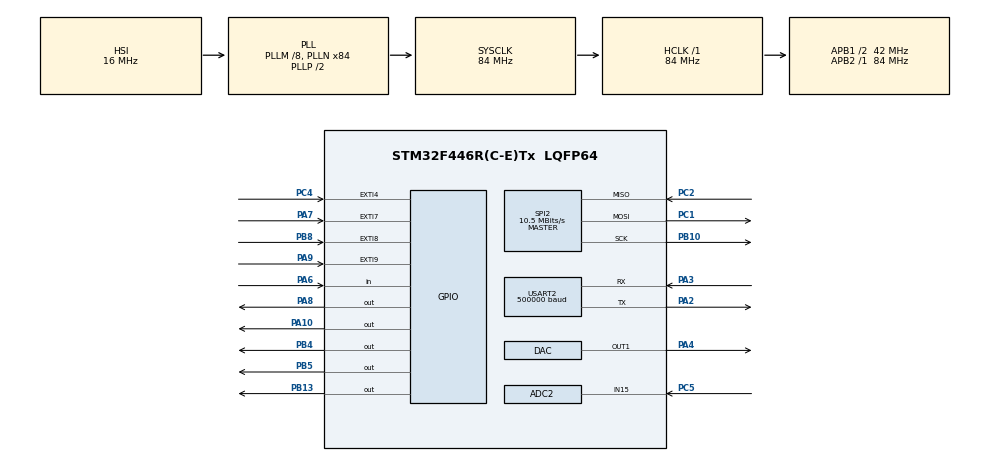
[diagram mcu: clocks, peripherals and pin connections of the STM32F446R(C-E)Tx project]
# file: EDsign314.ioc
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ADC2.Channel-13\#ChannelRegularConversion=ADC_CHANNEL_15
ADC2.DMAContinuousRequests=ENABLE
ADC2.ExternalTrigConv=ADC_EXTERNALTRIGCONV_T2_TRGO
ADC2.NbrOfConversionFlag=1
ADC2.Rank-13\#ChannelRegularConversion=1
ADC2.Resolution=ADC_RESOLUTION_8B
ADC2.SamplingTime-13\#ChannelRegularConversion=ADC_SAMPLETIME_3CYCLES
DAC.DAC_Trigger=DAC_TRIGGER_T2_TRGO
Dma.ADC2.1.Direction=DMA_PERIPH_TO_MEMORY
Dma.ADC2.1.FIFOMode=DMA_FIFOMODE_DISABLE
Dma.ADC2.1.Instance=DMA2_Stream2
Dma.ADC2.1.MemDataAlignment=DMA_MDATAALIGN_BYTE
Dma.ADC2.1.MemInc=DMA_MINC_ENABLE
Dma.ADC2.1.Mode=DMA_CIRCULAR
Dma.ADC2.1.PeriphDataAlignment=DMA_PDATAALIGN_BYTE
Dma.ADC2.1.PeriphInc=DMA_PINC_DISABLE
Dma.ADC2.1.Priority=DMA_PRIORITY_LOW
Dma.DAC1.0.Direction=DMA_MEMORY_TO_PERIPH
Dma.DAC1.0.FIFOMode=DMA_FIFOMODE_DISABLE
Dma.DAC1.0.Instance=DMA1_Stream5
Dma.DAC1.0.MemDataAlignment=DMA_MDATAALIGN_HALFWORD
Dma.DAC1.0.MemInc=DMA_MINC_ENABLE
Dma.DAC1.0.Mode=DMA_NORMAL
Dma.DAC1.0.PeriphDataAlignment=DMA_PDATAALIGN_HALFWORD
Dma.DAC1.0.PeriphInc=DMA_PINC_DISABLE
Dma.DAC1.0.Priority=DMA_PRIORITY_LOW
Dma.Request0=DAC1
Dma.Request1=ADC2
Dma.Request2=USART2_TX
Dma.USART2_TX.2.Direction=DMA_MEMORY_TO_PERIPH
Dma.USART2_TX.2.FIFOMode=DMA_FIFOMODE_DISABLE
Dma.USART2_TX.2.Instance=DMA1_Stream6
Dma.USART2_TX.2.MemDataAlignment=DMA_MDATAALIGN_BYTE
Dma.USART2_TX.2.MemInc=DMA_MINC_ENABLE
Dma.USART2_TX.2.Mode=DMA_NORMAL
Dma.USART2_TX.2.PeriphDataAlignment=DMA_PDATAALIGN_BYTE
Dma.USART2_TX.2.PeriphInc=DMA_PINC_DISABLE
Dma.USART2_TX.2.Priority=DMA_PRIORITY_LOW
Mcu.Family=STM32F4
Mcu.Name=STM32F446R(C-E)Tx
Mcu.Package=LQFP64
NVIC.DMA1_Stream5_IRQn=true\:0\:0\:false\:false\:true\:false\:true
NVIC.DMA1_Stream6_IRQn=true\:0\:0\:false\:false\:true\:false\:true
NVIC.DMA2_Stream2_IRQn=true\:0\:0\:false\:false\:true\:false\:true
NVIC.EXTI4_IRQn=true\:0\:0\:false\:false\:true\:true\:true
NVIC.EXTI9_5_IRQn=true\:0\:0\:false\:false\:true\:true\:true
NVIC.PriorityGroup=NVIC_PRIORITYGROUP_4
NVIC.TIM3_IRQn=true\:0\:0\:false\:false\:true\:true\:true
PA10.GPIO_PuPd=GPIO_PULLDOWN
PA10.GPIO_Speed=GPIO_SPEED_FREQ_LOW
PA10.Signal=GPIO_Output
PA2.Mode=Asynchronous
PA2.Signal=USART2_TX
PA3.Mode=Asynchronous
PA3.Signal=USART2_RX
PA4.Signal=COMP_DAC1_group
PA6.GPIO_PuPd=GPIO_PULLDOWN
PA6.Signal=GPIO_Input
PA7.GPIO_PuPd=GPIO_PULLDOWN
PA7.Signal=GPXTI7
PA8.GPIO_PuPd=GPIO_PULLDOWN
PA8.Signal=GPIO_Output
PA9.GPIO_PuPd=GPIO_PULLDOWN
PA9.Signal=GPXTI9
PB10.Mode=Full_Duplex_Master
PB10.Signal=SPI2_SCK
PB13.GPIO_PuPd=GPIO_PULLDOWN
PB13.Signal=GPIO_Output
PB4.GPIO_PuPd=GPIO_PULLDOWN
PB4.Signal=GPIO_Output
PB5.GPIO_PuPd=GPIO_PULLDOWN
PB5.Signal=GPIO_Output
PB8.GPIO_PuPd=GPIO_PULLDOWN
PB8.Signal=GPXTI8
PC1.Mode=Full_Duplex_Master
PC1.Signal=SPI2_MOSI
PC2.Mode=Full_Duplex_Master
PC2.Signal=SPI2_MISO
PC4.GPIO_PuPd=GPIO_PULLDOWN
PC4.Signal=GPXTI4
PC5.Signal=ADCx_IN15
ProjectManager.HeapSize=0x200
ProjectManager.StackSize=0x400
ProjectManager.TargetToolchain=STM32CubeIDE
RCC.AHBFreq_Value=84000000
RCC.APB1CLKDivider=RCC_HCLK_DIV2
RCC.APB1Freq_Value=42000000
RCC.APB1TimFreq_Value=84000000
RCC.APB2Freq_Value=84000000
RCC.APB2TimFreq_Value=84000000
RCC.CortexFreq_Value=84000000
RCC.HCLKFreq_Value=84000000
RCC.PLLM=8
RCC.PLLN=84
RCC.SYSCLKFreq_VALUE=84000000
RCC.SYSCLKSource=RCC_SYSCLKSOURCE_PLLCLK
RCC.USBFreq_Value=84000000
RCC.VCOOutputFreq_Value=168000000
SH.ADCx_IN15.0=ADC2_IN15,IN15
SH.COMP_DAC1_group.0=DAC_OUT1,DAC_OUT1
SPI2.BaudRatePrescaler=SPI_BAUDRATEPRESCALER_4
SPI2.CalculateBaudRate=10.5 MBits/s
SPI2.Direction=SPI_DIRECTION_2LINES
SPI2.Mode=SPI_MODE_MASTER
SPI2.VirtualType=VM_MASTER
TIM2.Period=1905
TIM2.TIM_MasterOutputTrigger=TIM_TRGO_UPDATE
TIM3.Period=62499
TIM3.Prescaler=335
USART2.BaudRate=500000
USART2.VirtualMode=VM_ASYNC
VP_FATFS_VS_Generic.Mode=User_defined
VP_TIM2_VS_ClockSourceINT.Mode=Internal
VP_TIM3_VS_ClockSourceINT.Mode=Internal
board=custom

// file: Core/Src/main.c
/* USER CODE BEGIN Header */
/**
  ******************************************************************************
  * @file           : main.c
  * @brief          : Main program body
  ******************************************************************************
  * @attention
  *
  * <h2><center>&copy; Copyright (c) 2020 STMicroelectronics.
  * All rights reserved.</center></h2>
  *
  * This software component is licensed by ST under BSD 3-Clause license,
  * the "License"; You may not use this file except in compliance with the
  * License. You may obtain a copy of the License at:
  *                        opensource.org/licenses/BSD-3-Clause
  *
  ******************************************************************************
  */
/* USER CODE END Header */

#include "main.h"
#include "fatfs.h"

/* USER CODE BEGIN Includes */
#include <stdio.h>
#include <stdbool.h>
#include "sinewave.h"
/* USER CODE END Includes */

ADC_HandleTypeDef hadc2;
DMA_HandleTypeDef hdma_adc2;

DAC_HandleTypeDef hdac;
DMA_HandleTypeDef hdma_dac1;

SPI_HandleTypeDef hspi2;

TIM_HandleTypeDef htim2;
TIM_HandleTypeDef htim3;

UART_HandleTypeDef huart2;
DMA_HandleTypeDef hdma_usart2_tx;

/* USER CODE BEGIN PV */
	uint8_t startUp[10] = {127, 128, 50, 48, 56, 56 ,57, 51, 53, 54};
	uint8_t stop[10] = {127, 128, 83, 116, 111, 112, 95, 95, 95, 95};
	uint8_t record_1[10] = {127, 128, 82, 101, 99, 111, 114, 100, 95, 49};
	uint8_t record_2[10] = {127, 128, 82, 101, 99, 111, 114, 100, 95, 50};
	uint8_t record_3[10] = {127, 128, 82, 101, 99, 111, 114, 100, 95, 51};
	uint8_t playBack_3[10] = {127, 128, 80, 108, 97, 121, 95, 95, 95, 51};
	uint8_t playBack_2[10] = {127, 128, 80, 108, 97, 121, 95, 95, 95, 50};
	uint8_t playBack_1[10] = {127, 128, 80, 108, 97, 121, 95, 95, 95, 49};

	extern volatile uint8_t Record_1;
	extern volatile uint8_t Record_2;
	extern volatile uint8_t Record_3;
	extern volatile uint8_t Playback_1;
	extern volatile uint8_t Playback_2;
	extern volatile uint8_t Playback_3;
	extern volatile uint8_t Stop;
	extern volatile uint8_t start_recording;

	uint8_t interrupt_time = 0;
	uint8_t last_interrupt_time = 0;
	volatile uint8_t debounce = 0;

	volatile bool led_flash_1 = false;
	volatile bool led_flash_2 = false;
	volatile bool led_flash_3 = false;

	uint16_t dacbuffer[1098];

	uint8_t adcbuffer[1024];
	int32_t tempsample;
	int8_t outputbuf[1024];

	int32_t average = 128;
	int32_t accumulator;
	int32_t numavg;
	float smoothed_sample;

	volatile enum state{idle, track_1, track_2, track_3, recording_1, recording_2, recording_3, stoped}machine;
/* USER CODE END PV */

void SystemClock_Config(void);
static void MX_GPIO_Init(void);
static void MX_DMA_Init(void);
static void MX_ADC2_Init(void);
static void MX_DAC_Init(void);
static void MX_SPI2_Init(void);
static void MX_USART2_UART_Init(void);
static void MX_TIM2_Init(void);
static void MX_TIM3_Init(void);

/* USER CODE BEGIN 0 */
void HAL_GPIO_EXTI_Callback(uint16_t GPIO_Pin)
{
  /* Prevent unused argument(s) compilation warning */
  UNUSED(GPIO_Pin);
  /* NOTE: This function Should not be modified, when the callback is needed,
           the HAL_GPIO_EXTI_Callback could be implemented in the user file
   */
  //if((debounce == 1)&&(HAL_GPIO_ReadPin(GPIOA, GPIO_PIN_7)||HAL_GPIO_ReadPin(GPIOA, GPIO_PIN_9)||HAL_GPIO_ReadPin(GPIOB, GPIO_PIN_8)||HAL_GPIO_ReadPin(GPIOC, GPIO_PIN_4))){
	  	  //Start reording audio 1
		  if((GPIO_Pin == GPIO_PIN_8)&&(start_recording == 1)){
			Record_1 = 1;
		  }
		  //Start reording audio 2
		  if((GPIO_Pin == GPIO_PIN_9)&&(start_recording == 1)){
			Record_2 = 1;
		  }
		  //Start reording audio 3
		  if((GPIO_Pin == GPIO_PIN_7)&&(start_recording == 1)){
			Record_3 = 1;
		  }
		  //Start playback of audio 1
		  if((GPIO_Pin == GPIO_PIN_8)&&(start_recording == 0)){
			Playback_1 = 1;
		  }
		  //Start playback of audio 3
		  if((GPIO_Pin == GPIO_PIN_9)&&(start_recording == 0)){
			Playback_2 = 1;
		  }
		  //Start playback of audio 3
		  if((GPIO_Pin == GPIO_PIN_7)&&(start_recording == 0)){
			Playback_3 = 1;
		  }
		  //Stop all actions
		  if(GPIO_Pin == GPIO_PIN_4){
			Stop = 1;
		  }
		  debounce = 0;
  }
//}

void Hal_DAC_ConvCpltcallbackCh1(DAC_HandleTypeDef* hdac){
	HAL_DAC_Start_DMA(hdac, DAC_CHANNEL_1, (uint32_t*)dacbuffer, 1098, DAC_ALIGN_12B_R);
	if(machine == track_1){
			wave_fillbuffer(dacbuffer + 549, 1, 549);
		}
	if(machine == track_2){
			wave_fillbuffer(dacbuffer + 549, 2, 549);
		}
	if(machine == track_3){
			wave_fillbuffer(dacbuffer + 549, 3, 549);
		}

}
void Hal_DAC_ConHalfCpltcallbackCh1(DAC_HandleTypeDef* hdac){
	if(machine == track_1){
		wave_fillbuffer(dacbuffer, 1, 549);
	}
	if(machine == track_2){
		wave_fillbuffer(dacbuffer, 2, 549);
	}
	if(machine == track_3){
		wave_fillbuffer(dacbuffer, 3, 549);
	}
}
void Hal_ADC_ConvCpltcallbackCh1(DAC_HandleTypeDef* hadc){
	huart2.gState = HAL_UART_STATE_READY;
	for(int i = 512; i < 1024; i++){
		accumulator += adcbuffer[i];
		tempsample = (int32_t)adcbuffer[i] - average;
		smoothed_sample = 0.125f*tempsample + 0.875f*smoothed_sample;
		tempsample = (int32_t)smoothed_sample;
		if(tempsample > 127){
			tempsample = 127;
		}
		if(tempsample < -128){
			tempsample = -128;
		}
		outputbuf[i] = (int8_t)tempsample;

	}
	numavg += 512;
	if(numavg >= 20480){
		average = accumulator/20480;
		accumulator = 0;
		numavg = 0;
	}
  	HAL_UART_Transmit_DMA(&huart2, (uint8_t*)outputbuf+512, 512);
}
void Hal_ADC_ConHalfCpltcallbackCh1(DAC_HandleTypeDef* hadc){
	huart2.gState = HAL_UART_STATE_READY;
	for(int i = 0; i < 512; i++){
			accumulator += adcbuffer[i];
			tempsample = (int32_t)adcbuffer[i] - average;
			smoothed_sample = 0.125f*tempsample + 0.875f*smoothed_sample;
			tempsample = (int32_t)smoothed_sample;
			if(tempsample > 127){
				tempsample = 127;
			}
			if(tempsample < -128){
				tempsample = -128;
			}
			outputbuf[i] = (int8_t)tempsample;

		}
		numavg += 512;
		if(numavg >= 20480){
			average = accumulator/20480;
			accumulator = 0;
			numavg = 0;
		}
	HAL_UART_Transmit_DMA(&huart2, (uint8_t*)outputbuf, 512);
}
/* USER CODE END 0 */

int main(void)
{
  /* USER CODE BEGIN 1 */
	enum state machine = idle;
  /* USER CODE END 1 */

  /* MCU Configuration--------------------------------------------------------*/

  /* Reset of all peripherals, Initializes the Flash interface and the Systick. */
  HAL_Init();

  /* Configure the system clock */
  SystemClock_Config();

  /* Initialize all configured peripherals */
  MX_GPIO_Init();
  MX_DMA_Init();
  MX_ADC2_Init();
  MX_DAC_Init();
  MX_SPI2_Init();
  MX_USART2_UART_Init();
  MX_TIM2_Init();
  MX_TIM3_Init();
  MX_FATFS_Init();
  /* USER CODE BEGIN 2 */
  HAL_UART_Transmit(&huart2, startUp, 10, 10);
  HAL_ADC_Start_DMA(&hadc2, (uint32_t*)adcbuffer, 1024);
  HAL_TIM_Base_Start_IT(&htim2);
  wave_init();

  //wave_fillbuffer(dacbuffer, 1, 1024);
  //HAL_DAC_Start_DMA(&hdac, DAC_CHANNEL_1, (uint32_t*)dacbuffer, 1024, DAC_ALIGN_12B_R);
  /* USER CODE END 2 */

  /* Infinite loop */
  /* USER CODE BEGIN WHILE */
  while (1)
  {

			  if((Playback_3 == 1)&&(!HAL_GPIO_ReadPin(GPIOA, GPIO_PIN_7))){
					machine = track_3;
					Playback_3 = 0;
					HAL_UART_Transmit(&huart2, playBack_3, 10, 10);
					HAL_GPIO_WritePin(GPIOA, GPIO_PIN_8, 0);
					HAL_GPIO_WritePin(GPIOA, GPIO_PIN_10, 0);
					HAL_GPIO_WritePin(GPIOB, GPIO_PIN_5, 0);
					led_flash_3 = true;
					led_flash_2 = false;
					led_flash_1 = false;
					HAL_TIM_Base_Stop_IT(&htim3);
					HAL_DAC_Stop_DMA (&hdac, DAC_CHANNEL_1);
					wave_fillbuffer(dacbuffer, 3, 1098);
			  }
			  if((Playback_2 == 1)&&(!HAL_GPIO_ReadPin(GPIOA, GPIO_PIN_9))){
					machine = track_2;
					Playback_2 = 0;
					HAL_UART_Transmit(&huart2, playBack_2, 10, 10);
					HAL_GPIO_WritePin(GPIOA, GPIO_PIN_8, 0);
					HAL_GPIO_WritePin(GPIOA, GPIO_PIN_10, 0);
					HAL_GPIO_WritePin(GPIOB, GPIO_PIN_4, 0);
					led_flash_2 = true;
					led_flash_3 = false;
					led_flash_1 = false;
					HAL_TIM_Base_Stop_IT(&htim3);
					HAL_DAC_Stop_DMA (&hdac, DAC_CHANNEL_1);
					wave_fillbuffer(dacbuffer, 2, 1098);
			  }
			  if((Playback_1 == 1)&&(!HAL_GPIO_ReadPin(GPIOB, GPIO_PIN_8))){
					machine = track_1;
					Playback_1 = 0;
					HAL_UART_Transmit(&huart2, playBack_1, 10, 10);
					HAL_GPIO_WritePin(GPIOB, GPIO_PIN_4, 0);
					HAL_GPIO_WritePin(GPIOB, GPIO_PIN_5, 0);
					HAL_GPIO_WritePin(GPIOA, GPIO_PIN_8, 0);
					led_flash_1 = true;
					led_flash_2 = false;
					led_flash_3 = false;
					HAL_TIM_Base_Stop_IT(&htim3);
					HAL_DAC_Stop_DMA (&hdac, DAC_CHANNEL_1);
					wave_fillbuffer(dacbuffer, 1, 1098);
			  }
			  if((Record_3 == 1)&&(!HAL_GPIO_ReadPin(GPIOA, GPIO_PIN_7))){
					machine = recording_3;
					Record_3 = 0;
					HAL_UART_Transmit(&huart2, record_3, 10, 10);
					HAL_GPIO_WritePin(GPIOA, GPIO_PIN_8, 1);
					HAL_GPIO_WritePin(GPIOA, GPIO_PIN_10, 0);
					HAL_GPIO_WritePin(GPIOB, GPIO_PIN_5, 0);
					led_flash_3 = true;
					led_flash_2 = false;
					led_flash_1 = false;
					HAL_TIM_Base_Stop_IT(&htim3);
					HAL_DAC_Stop_DMA (&hdac, DAC_CHANNEL_1);
			  }
			  if((Record_2 == 1)&&(!HAL_GPIO_ReadPin(GPIOA, GPIO_PIN_9))){
					machine = recording_2;
					Record_2 = 0;
					HAL_UART_Transmit(&huart2, record_2, 10, 10);
					HAL_GPIO_WritePin(GPIOA, GPIO_PIN_8, 1);
					HAL_GPIO_WritePin(GPIOA, GPIO_PIN_10, 0);
					HAL_GPIO_WritePin(GPIOB, GPIO_PIN_4, 0);
					led_flash_2 = true;
					led_flash_3 = false;
					led_flash_1 = false;
					HAL_TIM_Base_Stop_IT(&htim3);
					HAL_DAC_Stop_DMA (&hdac, DAC_CHANNEL_1);
			  }
			  if((Record_1 == 1)&&(!HAL_GPIO_ReadPin(GPIOB, GPIO_PIN_8))){
					machine = recording_1;
					Record_1 = 0;
					HAL_UART_Transmit(&huart2, record_1, 10, 10);
					HAL_GPIO_WritePin(GPIOB, GPIO_PIN_4, 0);
					HAL_GPIO_WritePin(GPIOB, GPIO_PIN_5, 0);
					HAL_GPIO_WritePin(GPIOA, GPIO_PIN_8, 1);
					led_flash_1 = true;
					led_flash_2 = false;
					led_flash_3 = false;
					HAL_TIM_Base_Stop_IT(&htim3);
					HAL_DAC_Stop_DMA (&hdac, DAC_CHANNEL_1);
			  }
			  if((Stop == 1)&&(!HAL_GPIO_ReadPin(GPIOC, GPIO_PIN_4))){
					machine = stoped;
					Stop = 0;
					HAL_UART_Transmit(&huart2, stop, 10, 10);
					HAL_GPIO_WritePin(GPIOA, GPIO_PIN_8, 0);
					HAL_GPIO_WritePin(GPIOA, GPIO_PIN_10, 0);
					HAL_GPIO_WritePin(GPIOB, GPIO_PIN_4, 0);
					HAL_GPIO_WritePin(GPIOB, GPIO_PIN_5, 0);
					led_flash_1 = false;
					led_flash_2 = false;
					led_flash_3 = false;
					HAL_TIM_Base_Stop_IT(&htim3);
					HAL_DAC_Stop_DMA (&hdac, DAC_CHANNEL_1);
			  }
		interrupt_time = HAL_GetTick();
		if((interrupt_time-last_interrupt_time) > 10){
			last_interrupt_time = interrupt_time;
		}

	  if(machine == idle){
		  //do nothing
	  }
	  if((machine == track_3)){
		  HAL_TIM_Base_Start_IT(&htim3);
		  HAL_DAC_Start_DMA(&hdac, DAC_CHANNEL_1, (uint32_t*)dacbuffer, 1098, DAC_ALIGN_12B_R);
	  }
	  if((machine == track_2)){
		  HAL_TIM_Base_Start_IT(&htim3);
		  HAL_DAC_Start_DMA(&hdac, DAC_CHANNEL_1, (uint32_t*)dacbuffer, 1098, DAC_ALIGN_12B_R);
	  }
	  if((machine == track_1)){
		  HAL_TIM_Base_Start_IT(&htim3);
		  HAL_DAC_Start_DMA(&hdac, DAC_CHANNEL_1, (uint32_t*)dacbuffer, 1098, DAC_ALIGN_12B_R);
	  }
	  if((machine == recording_3)){
		  HAL_TIM_Base_Start_IT(&htim3);
	  }
	  if((machine == recording_2)){
		  HAL_TIM_Base_Start_IT(&htim3);
	  }
	  if((machine == recording_1)){
		  HAL_TIM_Base_Start_IT(&htim3);
	  }
	  if((machine == stoped)){
	  	  machine = idle;
	  }

    /* USER CODE END WHILE */

  }
}

void SystemClock_Config(void)
{
  RCC_OscInitTypeDef RCC_OscInitStruct = {0};
  RCC_ClkInitTypeDef RCC_ClkInitStruct = {0};

  /** Configure the main internal regulator output voltage
  */
  __HAL_RCC_PWR_CLK_ENABLE();
  __HAL_PWR_VOLTAGESCALING_CONFIG(PWR_REGULATOR_VOLTAGE_SCALE3);
  /** Initializes the CPU, AHB and APB busses clocks
  */
  RCC_OscInitStruct.OscillatorType = RCC_OSCILLATORTYPE_HSI;
  RCC_OscInitStruct.HSIState = RCC_HSI_ON;
  RCC_OscInitStruct.HSICalibrationValue = RCC_HSICALIBRATION_DEFAULT;
  RCC_OscInitStruct.PLL.PLLState = RCC_PLL_ON;
  RCC_OscInitStruct.PLL.PLLSource = RCC_PLLSOURCE_HSI;
  RCC_OscInitStruct.PLL.PLLM = 8;
  RCC_OscInitStruct.PLL.PLLN = 84;
  RCC_OscInitStruct.PLL.PLLP = RCC_PLLP_DIV2;
  RCC_OscInitStruct.PLL.PLLQ = 2;
  RCC_OscInitStruct.PLL.PLLR = 2;
  if (HAL_RCC_OscConfig(&RCC_OscInitStruct) != HAL_OK)
  {
    Error_Handler();
  }
  /** Initializes the CPU, AHB and APB busses clocks
  */
  RCC_ClkInitStruct.ClockType = RCC_CLOCKTYPE_HCLK|RCC_CLOCKTYPE_SYSCLK
                              |RCC_CLOCKTYPE_PCLK1|RCC_CLOCKTYPE_PCLK2;
  RCC_ClkInitStruct.SYSCLKSource = RCC_SYSCLKSOURCE_PLLCLK;
  RCC_ClkInitStruct.AHBCLKDivider = RCC_SYSCLK_DIV1;
  RCC_ClkInitStruct.APB1CLKDivider = RCC_HCLK_DIV2;
  RCC_ClkInitStruct.APB2CLKDivider = RCC_HCLK_DIV1;

  if (HAL_RCC_ClockConfig(&RCC_ClkInitStruct, FLASH_LATENCY_2) != HAL_OK)
  {
    Error_Handler();
  }
}

static void MX_ADC2_Init(void)
{

  ADC_ChannelConfTypeDef sConfig = {0};

  /** Configure the global features of the ADC (Clock, Resolution, Data Alignment and number of conversion)
  */
  hadc2.Instance = ADC2;
  hadc2.Init.ClockPrescaler = ADC_CLOCK_SYNC_PCLK_DIV4;
  hadc2.Init.Resolution = ADC_RESOLUTION_8B;
  hadc2.Init.ScanConvMode = DISABLE;
  hadc2.Init.ContinuousConvMode = DISABLE;
  hadc2.Init.DiscontinuousConvMode = DISABLE;
  hadc2.Init.ExternalTrigConvEdge = ADC_EXTERNALTRIGCONVEDGE_RISING;
  hadc2.Init.ExternalTrigConv = ADC_EXTERNALTRIGCONV_T2_TRGO;
  hadc2.Init.DataAlign = ADC_DATAALIGN_RIGHT;
  hadc2.Init.NbrOfConversion = 1;
  hadc2.Init.DMAContinuousRequests = ENABLE;
  hadc2.Init.EOCSelection = ADC_EOC_SINGLE_CONV;
  if (HAL_ADC_Init(&hadc2) != HAL_OK)
  {
    Error_Handler();
  }
  /** Configure for the selected ADC regular channel its corresponding rank in the sequencer and its sample time.
  */
  sConfig.Channel = ADC_CHANNEL_15;
  sConfig.Rank = 1;
  sConfig.SamplingTime = ADC_SAMPLETIME_3CYCLES;
  if (HAL_ADC_ConfigChannel(&hadc2, &sConfig) != HAL_OK)
  {
    Error_Handler();
  }

}

static void MX_DAC_Init(void)
{

  DAC_ChannelConfTypeDef sConfig = {0};

  /** DAC Initialization
  */
  hdac.Instance = DAC;
  if (HAL_DAC_Init(&hdac) != HAL_OK)
  {
    Error_Handler();
  }
  /** DAC channel OUT1 config
  */
  sConfig.DAC_Trigger = DAC_TRIGGER_T2_TRGO;
  sConfig.DAC_OutputBuffer = DAC_OUTPUTBUFFER_ENABLE;
  if (HAL_DAC_ConfigChannel(&hdac, &sConfig, DAC_CHANNEL_1) != HAL_OK)
  {
    Error_Handler();
  }

}

static void MX_SPI2_Init(void)
{

  /* SPI2 parameter configuration*/
  hspi2.Instance = SPI2;
  hspi2.Init.Mode = SPI_MODE_MASTER;
  hspi2.Init.Direction = SPI_DIRECTION_2LINES;
  hspi2.Init.DataSize = SPI_DATASIZE_8BIT;
  hspi2.Init.CLKPolarity = SPI_POLARITY_LOW;
  hspi2.Init.CLKPhase = SPI_PHASE_1EDGE;
  hspi2.Init.NSS = SPI_NSS_SOFT;
  hspi2.Init.BaudRatePrescaler = SPI_BAUDRATEPRESCALER_4;
  hspi2.Init.FirstBit = SPI_FIRSTBIT_MSB;
  hspi2.Init.TIMode = SPI_TIMODE_DISABLE;
  hspi2.Init.CRCCalculation = SPI_CRCCALCULATION_DISABLE;
  hspi2.Init.CRCPolynomial = 10;
  if (HAL_SPI_Init(&hspi2) != HAL_OK)
  {
    Error_Handler();
  }

}

static void MX_TIM2_Init(void)
{

  TIM_ClockConfigTypeDef sClockSourceConfig = {0};
  TIM_MasterConfigTypeDef sMasterConfig = {0};

  htim2.Instance = TIM2;
  htim2.Init.Prescaler = 0;
  htim2.Init.CounterMode = TIM_COUNTERMODE_UP;
  htim2.Init.Period = 1905;
  htim2.Init.ClockDivision = TIM_CLOCKDIVISION_DIV1;
  htim2.Init.AutoReloadPreload = TIM_AUTORELOAD_PRELOAD_DISABLE;
  if (HAL_TIM_Base_Init(&htim2) != HAL_OK)
  {
    Error_Handler();
  }
  sClockSourceConfig.ClockSource = TIM_CLOCKSOURCE_INTERNAL;
  if (HAL_TIM_ConfigClockSource(&htim2, &sClockSourceConfig) != HAL_OK)
  {
    Error_Handler();
  }
  sMasterConfig.MasterOutputTrigger = TIM_TRGO_UPDATE;
  sMasterConfig.MasterSlaveMode = TIM_MASTERSLAVEMODE_DISABLE;
  if (HAL_TIMEx_MasterConfigSynchronization(&htim2, &sMasterConfig) != HAL_OK)
  {
    Error_Handler();
  }

}

static void MX_TIM3_Init(void)
{

  TIM_ClockConfigTypeDef sClockSourceConfig = {0};
  TIM_MasterConfigTypeDef sMasterConfig = {0};

  htim3.Instance = TIM3;
  htim3.Init.Prescaler = 335;
  htim3.Init.CounterMode = TIM_COUNTERMODE_UP;
  htim3.Init.Period = 62499;
  htim3.Init.ClockDivision = TIM_CLOCKDIVISION_DIV1;
  htim3.Init.AutoReloadPreload = TIM_AUTORELOAD_PRELOAD_DISABLE;
  if (HAL_TIM_Base_Init(&htim3) != HAL_OK)
  {
    Error_Handler();
  }
  sClockSourceConfig.ClockSource = TIM_CLOCKSOURCE_INTERNAL;
  if (HAL_TIM_ConfigClockSource(&htim3, &sClockSourceConfig) != HAL_OK)
  {
    Error_Handler();
  }
  sMasterConfig.MasterOutputTrigger = TIM_TRGO_RESET;
  sMasterConfig.MasterSlaveMode = TIM_MASTERSLAVEMODE_DISABLE;
  if (HAL_TIMEx_MasterConfigSynchronization(&htim3, &sMasterConfig) != HAL_OK)
  {
    Error_Handler();
  }

}

static void MX_USART2_UART_Init(void)
{

  huart2.Instance = USART2;
  huart2.Init.BaudRate = 500000;
  huart2.Init.WordLength = UART_WORDLENGTH_8B;
  huart2.Init.StopBits = UART_STOPBITS_1;
  huart2.Init.Parity = UART_PARITY_NONE;
  huart2.Init.Mode = UART_MODE_TX_RX;
  huart2.Init.HwFlowCtl = UART_HWCONTROL_NONE;
  huart2.Init.OverSampling = UART_OVERSAMPLING_16;
  if (HAL_UART_Init(&huart2) != HAL_OK)
  {
    Error_Handler();
  }

}

static void MX_DMA_Init(void)
{

  /* DMA controller clock enable */
  __HAL_RCC_DMA1_CLK_ENABLE();
  __HAL_RCC_DMA2_CLK_ENABLE();

  /* DMA interrupt init */
  /* DMA1_Stream5_IRQn interrupt configuration */
  HAL_NVIC_SetPriority(DMA1_Stream5_IRQn, 0, 0);
  HAL_NVIC_EnableIRQ(DMA1_Stream5_IRQn);
  /* DMA1_Stream6_IRQn interrupt configuration */
  HAL_NVIC_SetPriority(DMA1_Stream6_IRQn, 0, 0);
  HAL_NVIC_EnableIRQ(DMA1_Stream6_IRQn);
  /* DMA2_Stream2_IRQn interrupt configuration */
  HAL_NVIC_SetPriority(DMA2_Stream2_IRQn, 0, 0);
  HAL_NVIC_EnableIRQ(DMA2_Stream2_IRQn);

}

static void MX_GPIO_Init(void)
{
  GPIO_InitTypeDef GPIO_InitStruct = {0};

  /* GPIO Ports Clock Enable */
  __HAL_RCC_GPIOC_CLK_ENABLE();
  __HAL_RCC_GPIOA_CLK_ENABLE();
  __HAL_RCC_GPIOB_CLK_ENABLE();

  /*Configure GPIO pin Output Level */
  HAL_GPIO_WritePin(GPIOB, GPIO_PIN_13|GPIO_PIN_4|GPIO_PIN_5, GPIO_PIN_RESET);

  /*Configure GPIO pin Output Level */
  HAL_GPIO_WritePin(GPIOA, GPIO_PIN_8|GPIO_PIN_10, GPIO_PIN_RESET);

  /*Configure GPIO pin : PA6 */
  GPIO_InitStruct.Pin = GPIO_PIN_6;
  GPIO_InitStruct.Mode = GPIO_MODE_INPUT;
  GPIO_InitStruct.Pull = GPIO_PULLDOWN;
  HAL_GPIO_Init(GPIOA, &GPIO_InitStruct);

  /*Configure GPIO pins : PA7 PA9 */
  GPIO_InitStruct.Pin = GPIO_PIN_7|GPIO_PIN_9;
  GPIO_InitStruct.Mode = GPIO_MODE_IT_RISING;
  GPIO_InitStruct.Pull = GPIO_PULLDOWN;
  HAL_GPIO_Init(GPIOA, &GPIO_InitStruct);

  /*Configure GPIO pin : PC4 */
  GPIO_InitStruct.Pin = GPIO_PIN_4;
  GPIO_InitStruct.Mode = GPIO_MODE_IT_RISING;
  GPIO_InitStruct.Pull = GPIO_PULLDOWN;
  HAL_GPIO_Init(GPIOC, &GPIO_InitStruct);

  /*Configure GPIO pins : PB13 PB4 PB5 */
  GPIO_InitStruct.Pin = GPIO_PIN_13|GPIO_PIN_4|GPIO_PIN_5;
  GPIO_InitStruct.Mode = GPIO_MODE_OUTPUT_PP;
  GPIO_InitStruct.Pull = GPIO_PULLDOWN;
  GPIO_InitStruct.Speed = GPIO_SPEED_FREQ_LOW;
  HAL_GPIO_Init(GPIOB, &GPIO_InitStruct);

  /*Configure GPIO pins : PA8 PA10 */
  GPIO_InitStruct.Pin = GPIO_PIN_8|GPIO_PIN_10;
  GPIO_InitStruct.Mode = GPIO_MODE_OUTPUT_PP;
  GPIO_InitStruct.Pull = GPIO_PULLDOWN;
  GPIO_InitStruct.Speed = GPIO_SPEED_FREQ_LOW;
  HAL_GPIO_Init(GPIOA, &GPIO_InitStruct);

  /*Configure GPIO pin : PB8 */
  GPIO_InitStruct.Pin = GPIO_PIN_8;
  GPIO_InitStruct.Mode = GPIO_MODE_IT_RISING;
  GPIO_InitStruct.Pull = GPIO_PULLDOWN;
  HAL_GPIO_Init(GPIOB, &GPIO_InitStruct);

  /* EXTI interrupt init*/
  HAL_NVIC_SetPriority(EXTI4_IRQn, 0, 0);
  HAL_NVIC_EnableIRQ(EXTI4_IRQn);

  HAL_NVIC_SetPriority(EXTI9_5_IRQn, 0, 0);
  HAL_NVIC_EnableIRQ(EXTI9_5_IRQn);

}

void Error_Handler(void)
{
}

/************************ (C) COPYRIGHT STMicroelectronics *****END OF FILE****/
